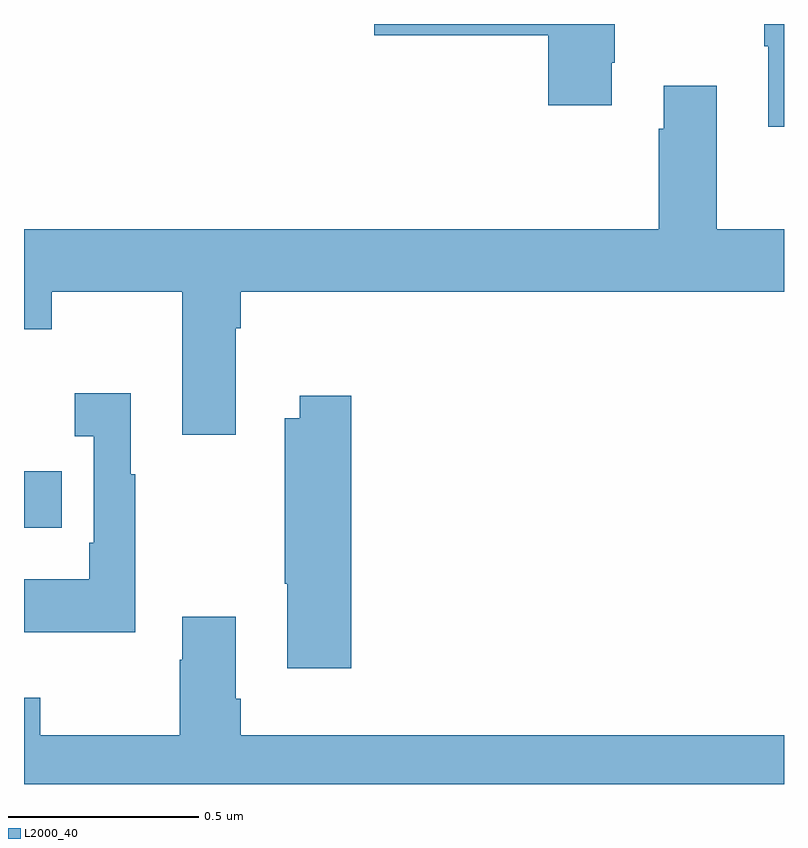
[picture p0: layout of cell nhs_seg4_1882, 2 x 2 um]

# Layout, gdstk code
import gdstk
lib = gdstk.Library(unit=1e-6, precision=1e-09)
def R(c, l, rs):  # rectangles x0, y0, x1, y1
    for r in rs: c.add(gdstk.rectangle(r[:2], r[2:], *l))
def P(c, l, *ps):  # polygons
    for p in ps: c.add(gdstk.Polygon(p, *l))
L2000_40 = (2000, 40)

nhs_seg4_1882 = lib.new_cell('nhs_seg4_1882')
R(nhs_seg4_1882, L2000_40, [(134,753.575,134.099,753.723)])
P(nhs_seg4_1882, L2000_40, [(135.547,754.798),(135.555,754.798),(135.555,754.9),(134.922,754.9),(134.922,754.871),(135.38,754.871),(135.38,754.686),(135.547,754.686)],
  [(136,754.9),(135.948,754.9),(135.948,754.841),(135.959,754.841),(135.959,754.629),(136,754.629)],
  [(134.557,754.1),(134.57,754.1),(134.57,754.196),(136,754.196),(136,754.36),(135.823,754.36),(135.823,754.738),(135.683,754.738),(135.683,754.625),(135.671,754.625),(135.671,754.36),(134,754.36),(134,754.097),(134.073,754.097),(134.073,754.196),(134.417,754.196),(134.417,753.819),(134.557,753.819)],
  [(134.293,753.715),(134.281,753.715),(134.281,753.928),(134.133,753.928),(134.133,753.815),(134.184,753.815),(134.184,753.535),(134.172,753.535),(134.172,753.439),(134,753.439),(134,753.299),(134.293,753.299)],
  [(134.861,753.922),(134.726,753.922),(134.726,753.862),(134.686,753.862),(134.686,753.427),(134.693,753.427),(134.693,753.204),(134.861,753.204)],
  [(136,753.028),(134.57,753.028),(134.57,753.124),(134.557,753.124),(134.557,753.34),(134.417,753.34),(134.417,753.227),(134.41,753.227),(134.41,753.028),(134.043,753.028),(134.043,753.127),(134,753.127),(134,752.9),(136,752.9)])

lib.write_gds('nhs_seg4_1882.gds')
